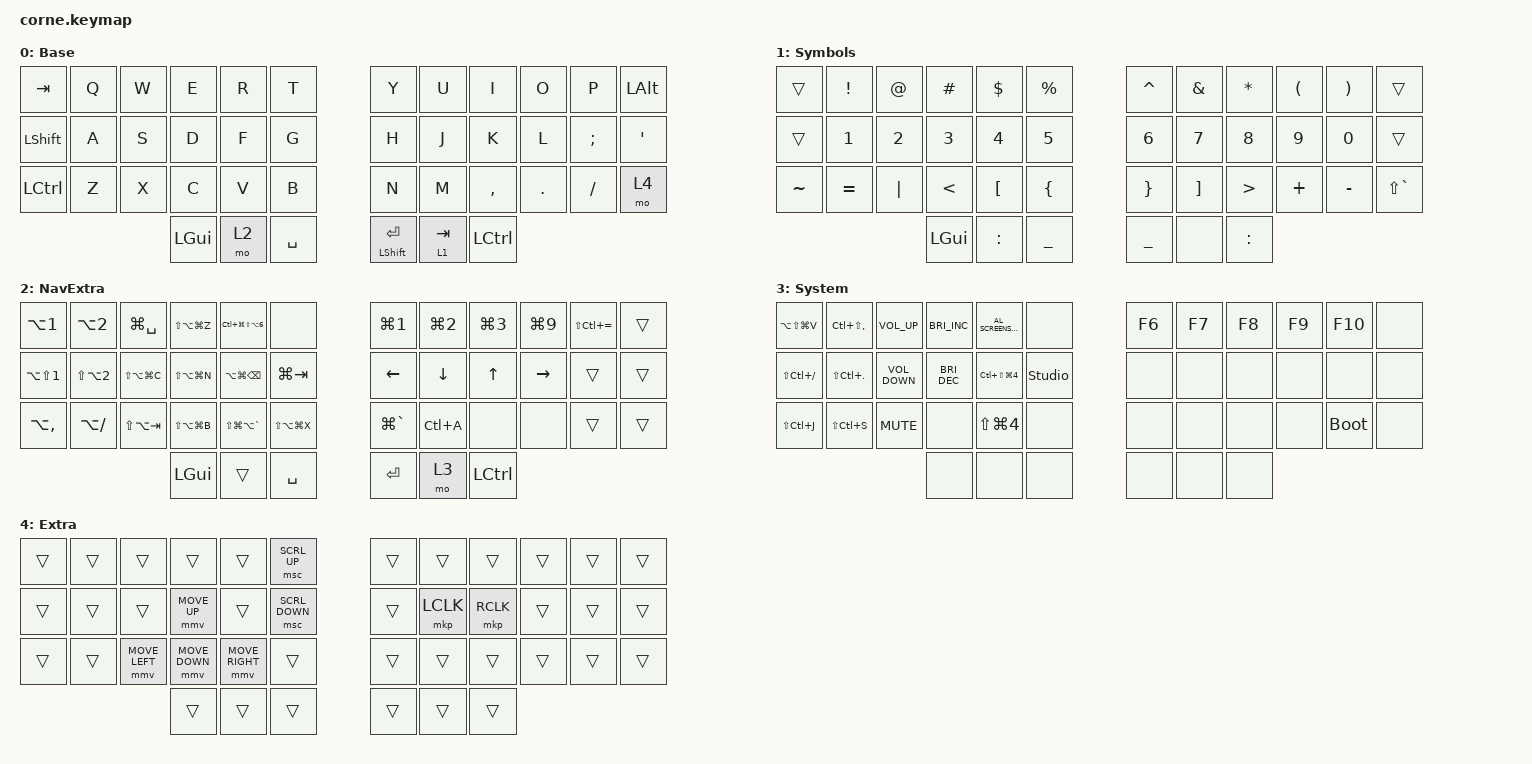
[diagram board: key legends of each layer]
#include <behaviors.dtsi>
#include <dt-bindings/zmk/keys.h>
#include <dt-bindings/zmk/pointing.h>

#define DEF 0
#define NAV 1
#define SYM 2
#define ADJ 3
#define EXTRA 4

/ {
    behaviors {
        hm: homerow_mods {
            compatible = "zmk,behavior-hold-tap";
            #binding-cells = <2>;
            tapping-term-ms = <200>;
            flavor = "tap-preferred";
            bindings = <&kp>, <&kp>;

            quick-tap-ms = <180>;
            require-prior-idle-ms = <120>; /* tune to taste */
        };

        para: para {
            compatible = "zmk,behavior-tap-dance";
            #binding-cells = <0>;
            bindings = <&kp LEFT_PARENTHESIS>, <&kp RIGHT_PARENTHESIS>;
        };

        caps: caps {
            compatible = "zmk,behavior-caps-word";
            #binding-cells = <0>;
            continue-list = <MINUS BACKSPACE>;
        };

        paraless: paraless {
            compatible = "zmk,behavior-mod-morph";
            bindings = <&kp LEFT_PARENTHESIS>, <&kp LESS_THAN>;

            #binding-cells = <0>;
            mods = <(MOD_LSFT)>;
        };

        paragreat: paragreat {
            compatible = "zmk,behavior-mod-morph";
            bindings = <&kp RIGHT_PARENTHESIS>, <&kp GREATER_THAN>;

            #binding-cells = <0>;
            mods = <(MOD_LSFT)>;
        };
    };

    macros {
        browsertab: browsertab {
            compatible = "zmk,behavior-macro";
            #binding-cells = <0>;
            bindings =
                <&macro_press>,
                <&kp LCTRL>,
                <&macro_tap>,
                <&kp TAB>,
                <&macro_release>,
                <&kp LCTRL>;
        };
    };

    combos {
        compatible = "zmk,combos";

        escape {
            bindings = <&kp ESCAPE>;
            key-positions = <19 20>;
            timeout-ms = <50>;
        };

        left_paranthesis {
            bindings = <&kp LEFT_PARENTHESIS>;
            key-positions = <4 5>;
        };

        right_paranthesis {
            bindings = <&kp RIGHT_PARENTHESIS>;
            key-positions = <6 7>;
        };

        left_bracket {
            bindings = <&kp LEFT_BRACKET>;
            key-positions = <16 17>;
        };

        right_bracket {
            bindings = <&kp RIGHT_BRACKET>;
            key-positions = <18 19>;
        };

        left_brace {
            bindings = <&kp LEFT_BRACE>;
            key-positions = <28 29>;
        };

        right_brace {
            bindings = <&kp RIGHT_BRACE>;
            key-positions = <30 31>;
        };

        left_alt {
            bindings = <&kp LEFT_ALT>;
            key-positions = <11 10>;
        };

        backspace {
            bindings = <&kp BACKSPACE>;
            key-positions = <20 21>;
        };

        question_mark {
            bindings = <&kp QUESTION>;
            key-positions = <32 33>;
        };

        left_shift {
            bindings = <&kp LEFT_SHIFT>;
            key-positions = <27 28>;
        };

        right_shift {
            bindings = <&kp RIGHT_SHIFT>;
            key-positions = <32 31>;
        };
    };

    //

    keymap {
        compatible = "zmk,keymap";

        DEF {
            display-name = "Base";

            // -----------------------------------------------------------------------------------------
            // |  Q  |  W  |  E  |  R  |  T  |   |  Y  |  U   |  I  |  O  |  P  |
            // |  A  |  S  |  D  |  F  |  G  |   |  H  |  J   |  K  |  L  |  ;  |
            // |  Z  |  X  |  C  |  V  |  B  |   |  N  |  M   |  ,  |  .  |  /  |
            // | GUI | CTRL | SHFT | LWR | SPC |   | ENT | RSE  | BKSP | ALT | ESC |

            bindings = <
&kp TAB    &kp Q  &kp W  &kp E     &kp R  &kp T        &kp Y               &kp U      &kp I      &kp O    &kp P     &kp LEFT_ALT
&kp LSHFT  &kp A  &kp S  &kp D     &kp F  &kp G        &kp H               &kp J      &kp K      &kp L    &kp SEMI  &kp SQT
&kp LCTRL  &kp Z  &kp X  &kp C     &kp V  &kp B        &kp N               &kp M      &kp COMMA  &kp DOT  &kp FSLH  &mo 4
                         &kp LGUI  &mo 2  &kp SPACE    &mt LEFT_SHIFT RET  &lt 1 TAB  &kp LCTRL
            >;
        };

        SYM {
            display-name = "Symbols";

            // -----------------------------------------------------------------------------------------
            // |  TAB |  !  |  @  |  #  |  $  |  %  |   |  ^  |  &  |  *  |  (  |  )  | BKSP |
            // | CTRL |     |     |     |     |     |   |  -  |  =  |  [  |  ]  |  \  |  `   |
            // | SHFT |     |     |     |     |     |   |  _  |  +  |  {  |  }  | "|" |  ~   |
            //                    | GUI |     | SPC |   | ENT |     | ALT |

            bindings = <
&trans     &kp EXCL   &kp AT    &kp HASH       &kp DLLR          &kp PRCNT         &kp CARET        &kp AMPS           &kp STAR          &kp LEFT_PARENTHESIS  &kp RIGHT_PARENTHESIS  &trans
&trans     &kp N1     &kp N2    &kp N3         &kp NUMBER_4      &kp N5            &kp N6           &kp N7             &kp N8            &kp N9                &kp N0                 &trans
&kp TILDE  &kp EQUAL  &kp PIPE  &kp LESS_THAN  &kp LEFT_BRACKET  &kp LEFT_BRACE    &kp RIGHT_BRACE  &kp RIGHT_BRACKET  &kp GREATER_THAN  &kp PLUS              &kp MINUS              &kp LS(GRAVE)
                                &kp LGUI       &kp COLON         &kp UNDER         &kp UNDER        &none              &kp COLON
            >;
        };

        NAVEXTR {
            display-name = "NavExtra";

            // -----------------------------------------------------------------------------------------
            // |  TAB |  1  |  2  |  3  |  4  |  5  |   |  6  |  7  |  8  |  9  |  0  | BKSP |
            // | BTCLR| BT1 | BT2 | BT3 | BT4 | BT5 |   | LFT | DWN |  UP | RGT |     |      |
            // | SHFT |     |     |     |     |     |   |     |     |     |     |     |      |
            // | GUI | CTRL | SHFT | LWR | SPC |   | ENT | RSE  | BKSP | ALT | ESC |

            bindings = <
&kp LA(N1)      &kp LA(N2)      &kp LG(SPACE)      &kp LS(LA(LG(Z)))  &kp LC(LG(LS(LA(N6))))  &none                &kp LG(N1)      &kp LG(N2)      &kp LG(N3)        &kp LG(N9)  &kp LS(LC(EQUAL))  &trans
&kp LA(LS(N1))  &kp LS(LA(N2))  &kp LS(LA(LG(C)))  &kp LS(LA(LG(N)))  &kp LA(LG(BACKSPACE))   &kp LG(TAB)          &kp LEFT_ARROW  &kp DOWN_ARROW  &kp UP_ARROW      &kp RIGHT   &trans             &trans
&kp LA(COMMA)   &kp LA(SLASH)   &kp LS(LA(TAB))    &kp LS(LA(LG(B)))  &kp LS(LG(LA(GRAVE)))   &kp LS(LA(LG(X)))    &kp LG(GRAVE)   &kp LC(A)       &none             &none       &trans             &trans
                                                   &kp LGUI           &trans                  &kp SPACE            &kp RET         &mo 3           &kp LEFT_CONTROL
            >;
        };

        ADJ {
            display-name = "System";
            bindings = <
&kp LA(LS(LG(V)))  &kp LC(LS(COMMA))   &kp C_VOLUME_UP    &kp C_BRIGHTNESS_INC  &kp C_AL_SCREENSAVER  &none             &kp F6  &kp F7  &kp F8  &kp F9  &kp F10      &none
&kp LS(LC(SLASH))  &kp LS(LC(PERIOD))  &kp C_VOLUME_DOWN  &kp C_BRIGHTNESS_DEC  &kp LC(LS(LG(N4)))    &studio_unlock    &none   &none   &none   &none   &none        &none
&kp LS(LC(J))      &kp LS(LC(S))       &kp C_MUTE         &none                 &kp LS(LG(N4))        &none             &none   &none   &none   &none   &bootloader  &none
                                                          &none                 &none                 &none             &none   &none   &none
            >;
        };

        EXTRA {
            display-name = "Extra";
            bindings = <
&trans  &trans  &trans          &trans          &trans           &msc SCRL_UP      &trans  &trans     &trans     &trans  &trans  &trans
&trans  &trans  &trans          &mmv MOVE_UP    &trans           &msc SCRL_DOWN    &trans  &mkp LCLK  &mkp RCLK  &trans  &trans  &trans
&trans  &trans  &mmv MOVE_LEFT  &mmv MOVE_DOWN  &mmv MOVE_RIGHT  &trans            &trans  &trans     &trans     &trans  &trans  &trans
                                &trans          &trans           &trans            &trans  &trans     &trans
            >;
        };
    };
};
